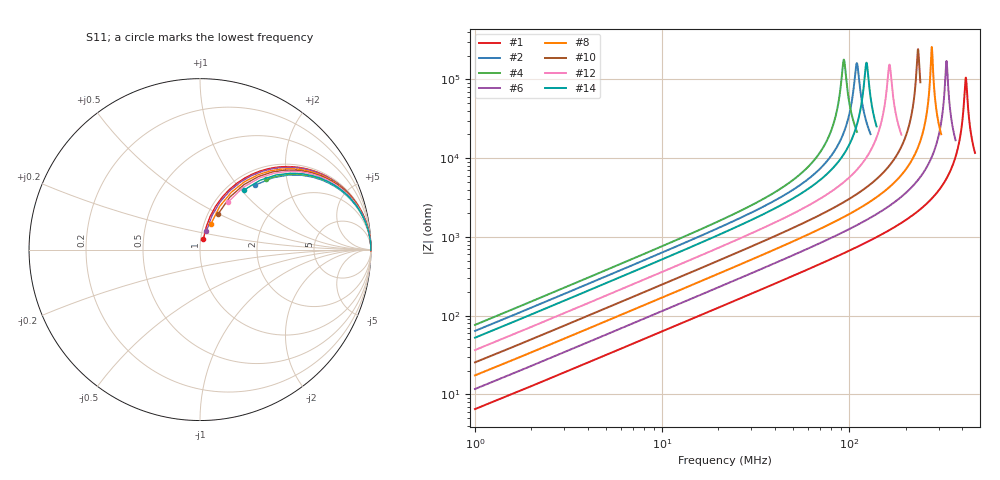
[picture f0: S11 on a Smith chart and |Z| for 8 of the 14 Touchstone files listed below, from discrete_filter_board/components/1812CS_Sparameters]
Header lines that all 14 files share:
! 31 July 2002
# MHZ S MA R 50
!Freq  MagS11  AngS11  MagS21  AngS21  MagS12  AngS12  MagS22  AngS22
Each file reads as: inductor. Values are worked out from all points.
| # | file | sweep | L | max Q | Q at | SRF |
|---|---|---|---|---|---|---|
| 1 | 18CS102.S2P | 1 MHz to 470 MHz | 1 uH | 118 | 139.1 MHz | 419.9 MHz |
| 2 | 18CS103.S2P | 1 MHz to 130 MHz | 10 uH | 52.4 | 39.08 MHz | 109.8 MHz |
| 3 | 18CS122.S2P | 1 MHz to 420 MHz | 1.22 uH | 112 | 123.7 MHz | 374.4 MHz |
| 4 | 18CS123.S2P | 1 MHz to 110 MHz | 12 uH | 69.4 | 32.86 MHz | 93.61 MHz |
| 5 | 18CS152.S2P | 1 MHz to 390 MHz | 1.52 uH | 119 | 117.4 MHz | 351.2 MHz |
| 6 | 18CS182.S2P | 1 MHz to 370 MHz | 1.82 uH | 125 | 113.2 MHz | 330.4 MHz |
| 7 | 18CS222.S2P | 1 MHz to 310 MHz | 2.25 uH | 105 | 94.94 MHz | 273.6 MHz |
| 8 | 18CS272.S2P | 1 MHz to 310 MHz | 2.7 uH | 110 | 103.4 MHz | 275.9 MHz |
| 9 | 18CS332.S2P | 1 MHz to 260 MHz | 3.33 uH | 111 | 93.95 MHz | 251.2 MHz |
| 10 | 18CS392.S2P | 1 MHz to 240 MHz | 3.95 uH | 113 | 83.2 MHz | 232.6 MHz |
| 11 | 18CS472.S2P | 1 MHz to 220 MHz | 4.77 uH | 93.7 | 81.85 MHz | 208.3 MHz |
| 12 | 18CS562.S2P | 1 MHz to 190 MHz | 5.7 uH | 79.9 | 55.52 MHz | 164.1 MHz |
| 13 | 18CS682.S2P | 1 MHz to 170 MHz | 6.8 uH | 73.3 | 52.24 MHz | 149.7 MHz |
| 14 | 18CS822.S2P | 1 MHz to 140 MHz | 8.2 uH | 64.6 | 43.7 MHz | 123.5 MHz |
